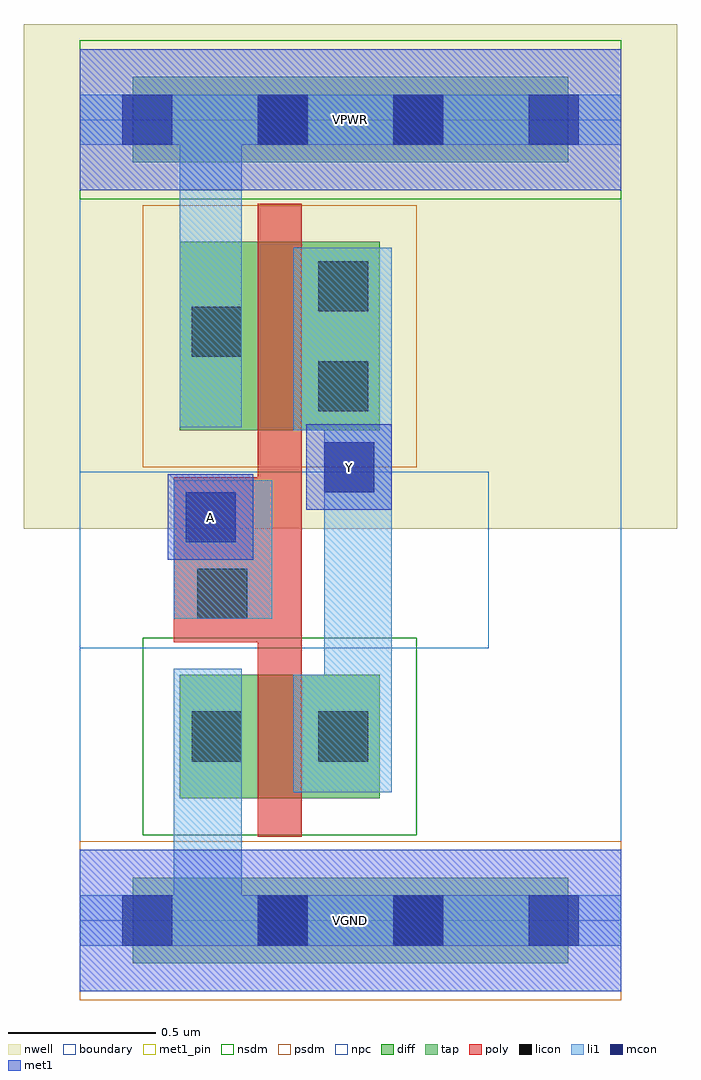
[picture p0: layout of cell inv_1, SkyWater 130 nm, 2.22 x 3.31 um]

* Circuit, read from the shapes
.subckt inv_1 A VGND VPWR Y
XM1 Y A VGND VGND sky130_fd_pr__nfet_01v8 w=0.42 l=0.15
XM2 Y A VPWR VPWR sky130_fd_pr__pfet_01v8 w=0.64 l=0.15
.ends

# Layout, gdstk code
import gdstk
lib = gdstk.Library(unit=1e-6, precision=1e-09)
def R(c, l, rs):  # rectangles x0, y0, x1, y1
    for r in rs: c.add(gdstk.rectangle(r[:2], r[2:], *l))
def A(c, l, x, y, w, h, nx, ny, dx, dy):  # array of equal rectangles
    R(c, l, [(x+i*dx, y+j*dy, x+i*dx+w, y+j*dy+h) for i in range(nx) for j in range(ny)])
nwell = (64, 20)
diff = (65, 20)
tap = (65, 44)
poly = (66, 20)
licon = (66, 44)
li1 = (67, 20)
mcon = (67, 44)
met1_pin = (68, 16)
met1 = (68, 20)
nsdm = (93, 44)
psdm = (94, 20)
npc = (95, 20)
boundary = (235, 4)

inv_1 = lib.new_cell('inv_1')
R(inv_1, nwell, [(-0.19,1.33,2.03,3.045), (0,1.33,1.84,3.045)])
R(inv_1, diff, [(0.34,0.415,1.02,0.835), (0.34,1.665,1.02,2.305)])
R(inv_1, tap, [(0.18,-0.145,1.66,0.145), (0.18,2.575,1.66,2.865)])
R(inv_1, poly, [(0.605,0.285,0.755,2.435), (0.32,0.945,0.755,1.505)])
R(inv_1, licon, [(0.605,-0.085,0.775,0.085), (1.065,-0.085,1.235,0.085), (0.38,0.54,0.55,0.71), (0.81,0.54,0.98,0.71), (0.4,1.025,0.57,1.195), (0.81,1.73,0.98,1.9), (0.38,1.915,0.55,2.085), (0.81,2.07,0.98,2.24), (0.605,2.635,0.775,2.805), (1.065,2.635,1.235,2.805)])
R(inv_1, li1, [(0,-0.085,1.84,0.085), (0.32,-0.085,0.55,0.855), (0.725,0.435,1.06,0.835), (0.83,0.435,1.06,2.285), (0.32,1.025,0.655,1.495), (0.725,1.665,1.06,2.285), (0.34,1.675,0.55,2.805), (0,2.635,1.84,2.805)])
A(inv_1, mcon, 0.145, -0.085, 0.17, 0.17, 4, 2, 0.46, 2.72)
R(inv_1, mcon, [(0.36,1.285,0.53,1.455), (0.83,1.455,1,1.625)])
R(inv_1, met1_pin, [(0,-0.24,1.84,0.24), (0.3,1.225,0.59,1.515), (0.77,1.395,1.06,1.685), (0,2.48,1.84,2.96)])
R(inv_1, met1, [(0,-0.24,1.84,0.24), (0.3,1.225,0.59,1.515), (0.77,1.395,1.06,1.685), (0,2.48,1.84,2.96)])
R(inv_1, nsdm, [(0.215,0.29,1.145,0.96), (0,2.45,1.84,2.99)])
R(inv_1, psdm, [(0,-0.27,1.84,0.27), (0.215,1.54,1.145,2.43)])
R(inv_1, npc, [(0,0.925,1.39,1.525)])
R(inv_1, boundary, [(0,0,1.84,2.72)])
inv_1.add(gdstk.Label('A', (0.445,1.37), layer=68, texttype=5))
inv_1.add(gdstk.Label('Y', (0.915,1.54), layer=68, texttype=5))
inv_1.add(gdstk.Label('VPWR', (0.92,2.72), layer=68, texttype=5))
inv_1.add(gdstk.Label('VGND', (0.92,0), layer=68, texttype=5))
inv_1.add(gdstk.Label('A', (0.445,1.37), layer=68, texttype=16))
inv_1.add(gdstk.Label('Y', (0.915,1.54), layer=68, texttype=16))
inv_1.add(gdstk.Label('VPWR', (0.92,2.72), layer=68, texttype=16))
inv_1.add(gdstk.Label('VGND', (0.92,0), layer=68, texttype=16))

lib.write_gds('inv_1.gds')
